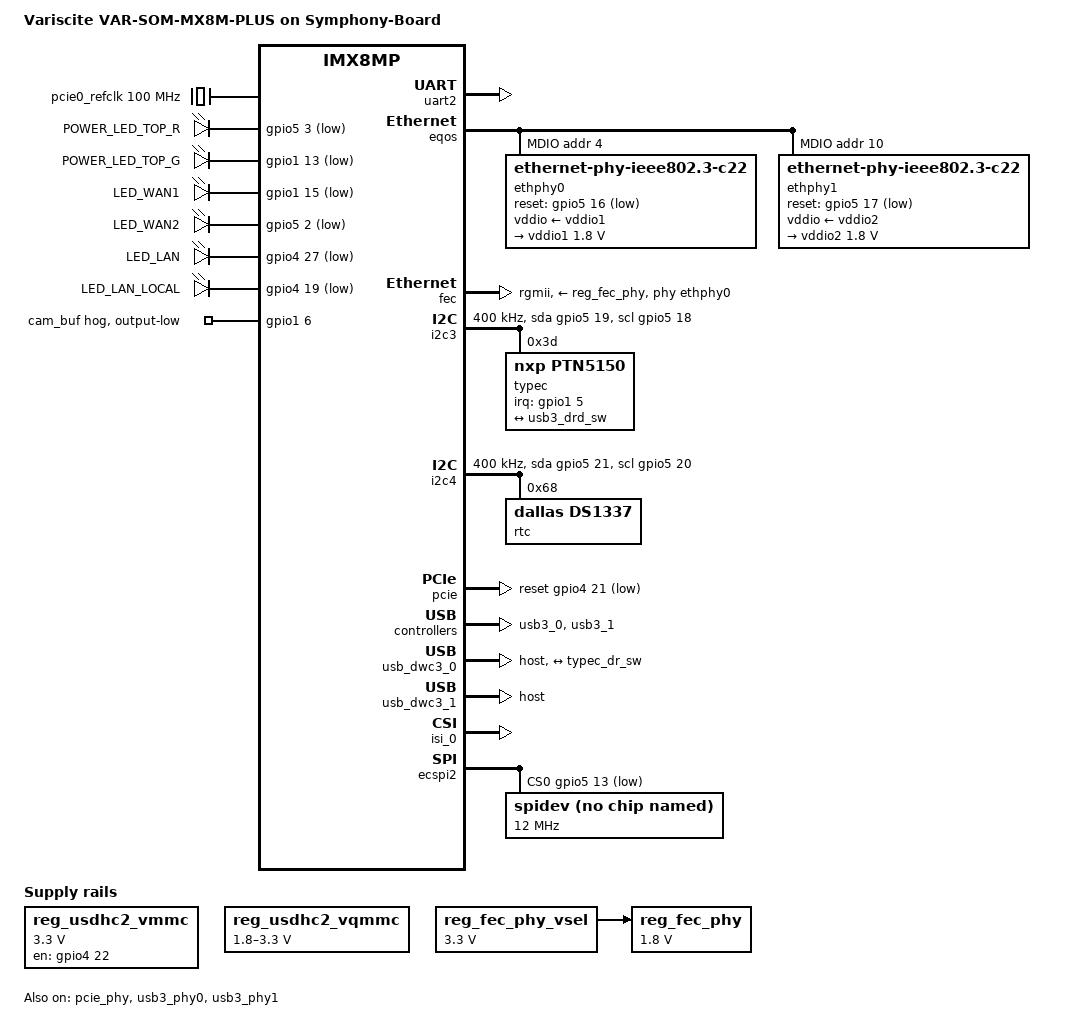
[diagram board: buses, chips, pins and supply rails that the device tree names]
// SPDX-License-Identifier: (GPL-2.0+ OR MIT)
/*
 * Copyright 2019 NXP
 * Copyright 2020-2023 Variscite Ltd.
 */

#include "imx8mp-var-som.dtsi"

/ {
	model = "Variscite VAR-SOM-MX8M-PLUS on Symphony-Board";

	// Configuración de la consola de salida (UART2)
	chosen {
		stdout-path = &uart2;
	};

	// Reloj de referencia para el PCIe 0
	pcie0_refclk: pcie0-refclk {
		compatible = "fixed-clock";					// Reloj fijo para PCIe 0
		#clock-cells = <0>;
		clock-frequency = <100000000>;				// Frecuencia del reloj a 100 MHz
	};

	// Regulador para la alimentación del controlador USDHC2 (3.3V)
	reg_usdhc2_vmmc: regulator-usdhc2-vmmc {
		compatible = "regulator-fixed";				// Regulador fijo
		regulator-name = "VSD_3V3";
		regulator-min-microvolt = <3300000>;
		regulator-max-microvolt = <3300000>;
		gpio = <&gpio4 22 GPIO_ACTIVE_HIGH>;
		enable-active-high;
		startup-delay-us = <100>;
		off-on-delay-us = <12000>;
	};

	// Regulador ajustable para VQMMC del controlador USDHC2
	reg_usdhc2_vqmmc: regulator-usdhc2-vqmmc {
		compatible = "regulator-gpio";				// Regulador controlado por GPIO
		regulator-name = "VSD_VSEL";
		regulator-min-microvolt = <1800000>;
		regulator-max-microvolt = <3300000>;
		gpio = <&gpio2 12 GPIO_ACTIVE_HIGH>;
		gpios-states = <1>;
		states = <3300000 0
			  1800000 1>;
	};

	// Regulador para la alimentación del PHY Ethernet (3.3V)
	reg_fec_phy_vsel: regulator-fec-phy-vsel {
		compatible = "regulator-fixed";				// Regulador fijo
		regulator-name = "fec-phy-vsel";
		regulator-min-microvolt = <3300000>;
		regulator-max-microvolt = <3300000>;
		regulator-always-on;
		//gpio = <&pca9534 6 GPIO_ACTIVE_HIGH>;
		enable-active-high;
	};

	// Regulador para el PHY Ethernet (1.8V)
	reg_fec_phy: regulator-fec-phy {
		compatible = "regulator-fixed";
		regulator-name = "fec-phy";
		vin-supply = <&reg_fec_phy_vsel>;
		regulator-min-microvolt = <1800000>;
		regulator-max-microvolt = <1800000>;
		regulator-enable-ramp-delay = <20000>;
		//gpio = <&pca9534 7 GPIO_ACTIVE_HIGH>;
		enable-active-high;
		regulator-always-on;
	};

	// Configuración de sonido HDMI (deshabilitada)
	sound_hdmi: sound_hdmi {
		compatible = "fsl,imx-audio-hdmi";
		model = "audio-hdmi";
		audio-cpu = <&aud2htx>;
		hdmi-out;
		constraint-rate = <44100>, // Tasa de muestreo soportada (44.1 kHz, 88.2 kHz, 176.4 kHz, 32 kHz, 48 kHz, 96 kHz, 192 kHz)
				<88200>,
				<176400>,
				<32000>,
				<48000>,
				<96000>,
				<192000>;
		status = "disabled";
	};
	
	leds {
		compatible = "gpio-leds";
		pinctrl-names = "default";
		pinctrl-0 = <&pinctrl_leds>;		// Asocia el grupo de pines "ledsgrp" al nodo de LEDs
		status = "okay";

		led1: led_1 {
			label = "POWER_LED_TOP_R";
			gpios = <&gpio5 3 GPIO_ACTIVE_LOW>;
			default-state = "off";
		};

		led2: led_2 {
			label = "POWER_LED_TOP_G";
			gpios = <&gpio1 13 GPIO_ACTIVE_LOW>;
			default-state = "off";
		};

		led3: led_3 {
			label = "LED_WAN1";
			gpios = <&gpio1 15 GPIO_ACTIVE_LOW>;
			default-state = "off";
		};

		led4: led_4 {
			label = "LED_WAN2";
			gpios = <&gpio5 2 GPIO_ACTIVE_LOW>;
			default-state = "off";
		};

		led5: led_5 {
			label = "LED_LAN";
			gpios = <&gpio4 27 GPIO_ACTIVE_LOW>;
			default-state = "off";
		};

		led6: led_6 {
			label = "LED_LAN_LOCAL";
			gpios = <&gpio4 19 GPIO_ACTIVE_LOW>;
			default-state = "off";
		};
	};
	
/*	fec-ethernet-ADIN0 {
		pinctrl-names = "default";
		pinctrl-0 = <&pinctrl_ethernet_ADIN0>;
		phy-mode = "rgmii";
		phy-handle = <&ethphy0>;
		phy-supply = <&reg_fec_phy>;
		status = "okay";
	};*/
	
	
	/*ethernet-ADIN0 {
		#address-cells = <1>;
		#size-cells = <0>;
		pinctrl-names = "default";
		pinctrl-0 = <&pinctrl_ethernet_ADIN0>;            // Llamada al pinmux
		status = "okay";

		ethernet-phy@0 {
			compatible = "ethernet-phy-ieee802.3-c22";
			reg = <0>;
			phy-mode = "rgmii-id";
			adi,rx-internal-delay-ps = <1800>;
			adi,tx-internal-delay-ps = <2200>;
			reset-gpios = <&gpio5 16 GPIO_ACTIVE_LOW>;   // Pin GPIO para resetear el PHY 0
			reset-assert-us = <10000>;
			reset-deassert-us = <20000>;
			vddio-supply = <&vddio0_phy0>;                     // Alimentación para PHY 0

			vddio0_phy0: vddio-regulator {
				regulator-min-microvolt = <1800000>;
				regulator-max-microvolt = <1800000>;
			};
		};
	};

	ethernet-ADIN1 {
		#address-cells = <1>;
		#size-cells = <0>;
		phy-mode = "rgmii-id";
		pinctrl-names = "default";
		pinctrl-0 = <&pinctrl_ethernet_ADIN1>;            // Llamada al pinmux
		status = "okay";

		ethernet-phy@1 {
			compatible = "ethernet-phy-ieee802.3-c22";
			reg = <1>;
			adi,fifo-depth-bits = <16>;
			reset-gpios = <&gpio5 17 GPIO_ACTIVE_LOW>;   // Pin GPIO para resetear el PHY 1
			reset-assert-us = <10000>;
			reset-deassert-us = <20000>;
			vddio-supply = <&vddio1_phy1>;                     // Alimentación para PHY 1

			vddio1_phy1: vddio-regulator {
				regulator-min-microvolt = <1800000>;
				regulator-max-microvolt = <1800000>;
			};
		};
	};*/
	
	
	// Controlador Ethernet ENET_QOS (Controlador de alta velocidad)
	/*enet_qos {
		// Habilitar el controlador Ethernet
		pinctrl-names = "default";
		pinctrl-0 = <&pinctrl_ethernet_ADIN0 &pinctrl_ethernet_ADIN1>;
		status = "okay";
		
		// Primer PHY en el controlador ENET_QOS
		phy0: ethernet-phy@0 {
			compatible = "ethernet-phy-ieee802.3-c22";
			reg = <0>;
			phy-mode = "rgmii-id";
			adi,rx-internal-delay-ps = <1800>;
			adi,tx-internal-delay-ps = <2200>;
			reset-gpios = <&gpio5 16 GPIO_ACTIVE_LOW>;
			reset-assert-us = <10000>;
			reset-deassert-us = <20000>;
			vddio-supply = <&vddio0_phy0>;
			vddio0_phy0: vddio-regulator {
				regulator-min-microvolt = <1800000>;
				regulator-max-microvolt = <1800000>;
			};
		};

		// Segundo PHY en el controlador ENET_QOS
		phy1: ethernet-phy@1 {
			compatible = "ethernet-phy-ieee802.3-c22";
			reg = <1>;
			phy-mode = "rgmii-id";
			adi,fifo-depth-bits = <16>;
			reset-gpios = <&gpio5 17 GPIO_ACTIVE_LOW>;
			reset-assert-us = <10000>;
			reset-deassert-us = <20000>;
			vddio-supply = <&vddio1_phy1>;
			vddio1_phy1: vddio-regulator {
				regulator-min-microvolt = <1800000>;
				regulator-max-microvolt = <1800000>;
			};
		};
	};*/
	
	
};


/*BEGIN: UART Console*/
/* Configuración de la consola UART2 */
&uart2 {
	pinctrl-names = "default";
	pinctrl-0 = <&pinctrl_uart2>;
	status = "okay";
};
/*END: UART Console*/

/*BEGIN: Ethernet PHY*/
&eqos {
	mdio {
		ethphy0: ethernet-phy@4 {
			compatible = "ethernet-phy-ieee802.3-c22";
			reg = <4>;
			phy-mode = "rgmii-id";
			adi,rx-internal-delay-ps = <1800>;
			adi,tx-internal-delay-ps = <2200>;
			reset-gpios = <&gpio5 16 GPIO_ACTIVE_LOW>;
			reset-assert-us = <10000>;
			reset-deassert-us = <20000>;
			vddio-supply = <&vddio1>;

			vddio1: vddio-regulator {
				regulator-min-microvolt = <1800000>;
				regulator-max-microvolt = <1800000>;
			};
		};

		ethphy1: ethernet-phy@10 {
			compatible = "ethernet-phy-ieee802.3-c22";
			reg = <10>;
			phy-mode = "rgmii-id";
			adi,rx-internal-delay-ps = <1800>;
			adi,tx-internal-delay-ps = <2200>;
			reset-gpios = <&gpio5 17 GPIO_ACTIVE_LOW>;
			reset-assert-us = <10000>;
			reset-deassert-us = <20000>;
			vddio-supply = <&vddio2>;

			vddio2: vddio-regulator {
				regulator-min-microvolt = <1800000>;
				regulator-max-microvolt = <1800000>;
			};
		};
	};
};

&fec {
	pinctrl-names = "default";
	pinctrl-0 = <&pinctrl_fec>;
	phy-mode = "rgmii";
	phy-handle = <&ethphy0>;
	phy-supply = <&reg_fec_phy>;
	status = "okay";
};
/*END: Ethernet PHY*/

/* BEGIN: Configuración del bus I2C3 */
&i2c3 {
	clock-frequency = <400000>;							// Velocidad del bus I2C (400 kHz)
	pinctrl-names = "default", "gpio";
	pinctrl-0 = <&pinctrl_i2c3>;
	pinctrl-1 = <&pinctrl_i2c3_gpio>;
	scl-gpios = <&gpio5 18 GPIO_ACTIVE_HIGH>;			// GPIO para la línea de reloj (SCL)
	sda-gpios = <&gpio5 19 GPIO_ACTIVE_HIGH>;			// GPIO para la línea de datos (SDA)
	status = "okay";

	/* USB Type-C Controller */ //Esto es la negociacion del modo de USB. ES un chip I2C.
	typec@3d {
		compatible = "nxp,ptn5150";
		pinctrl-names = "default";
		pinctrl-0 = <&pinctrl_extcon>;
		reg = <0x3d>;
		interrupt-parent = <&gpio1>;
		interrupts = <5 IRQ_TYPE_LEVEL_HIGH>;
		irq-is-id-quirk;
		status ="okay";
		
		/* Puertos de la interfaz Type-C */
		port {
			typec_dr_sw: endpoint {
				remote-endpoint = <&usb3_drd_sw>;		// Vincula este endpoint con el controlador DRD USB3
			};
		};
	};
	
	/* GPIO para la selección de USB3 */
	usb3_sel_hog {
		gpio-hog;									// El GPIO es "hogged", significa que lo controla el kernel directamente
		gpios = <4 0>;
		output-low;
		line-name = "usb3_sel";
	};
};


&i2c4 {
	clock-frequency = <400000>;
	pinctrl-names = "default", "gpio";
	pinctrl-0 = <&pinctrl_i2c4>;
	pinctrl-1 = <&pinctrl_i2c4_gpio>;
	scl-gpios = <&gpio5 20 GPIO_ACTIVE_HIGH>;
	sda-gpios = <&gpio5 21 GPIO_ACTIVE_HIGH>;
	status = "okay";

	/* DS1337 RTC module */
	rtc@68 {
		compatible = "dallas,ds1337";
		reg = <0x68>;
		status = "okay";
	};
};

/*&flexcan2 {
	pinctrl-names = "default";
	pinctrl-0 = <&pinctrl_flexcan2>;
	status = "okay";
};*/

/*&irqsteer_hdmi {
	status = "okay";
};*/

/*&hdmi_blk_ctrl {
	status = "okay";
};*/

/*&hdmi_pavi {
	status = "okay";
};*/

/*&hdmi {
	status = "okay";
};*/

/*&hdmiphy {
	status = "okay";
};*/

/* MIPI-DSI */
/*&lcdif1 {
	status = "disabled";
};*/

/* LVDS */
/*&lcdif2 {
	status = "okay";
};*/

/* HDMI */
//&lcdif3 {
//	status = "okay";
//	thres-low  = <1 2>;	/* (FIFO * 1 / 2) */
//	thres-high = <3 4>;	/* (FIFO * 3 / 4) */
//};

/*&ldb {
	status = "okay";

	lvds-channel@0 {
		fsl,data-mapping = "jeida";
		fsl,data-width = <24>;
		status = "okay";

		port@1 {
			reg = <1>;

			lvds_out: endpoint {
				remote-endpoint = <&panel_in>;
			};
		};
	};
};*/

/*&ldb_phy {
	status = "okay";
};*/

/*&mipi_dsi {
	status = "disabled";
};*/

&pcie {
	pinctrl-names = "default";
	pinctrl-0 = <&pinctrl_pcie>;
	reset-gpio = <&gpio4 21 GPIO_ACTIVE_LOW>;
	ext_osc = <1>;
	clocks = <&clk IMX8MP_CLK_HSIO_ROOT>,
		 <&clk IMX8MP_CLK_PCIE_AUX>,
		 <&clk IMX8MP_CLK_HSIO_AXI>,
		 <&clk IMX8MP_CLK_PCIE_ROOT>;
	clock-names = "pcie", "pcie_aux", "pcie_phy", "pcie_bus";
	assigned-clocks = <&clk IMX8MP_CLK_HSIO_AXI>,
			  <&clk IMX8MP_CLK_PCIE_AUX>;
	assigned-clock-rates = <500000000>, <10000000>;
	assigned-clock-parents = <&clk IMX8MP_SYS_PLL2_500M>,
				 <&clk IMX8MP_SYS_PLL2_50M>;
	l1ss-disabled;
	status = "okay";
};

&pcie_ep {
	pinctrl-names = "default";
	pinctrl-0 = <&pinctrl_pcie>;
	ext_osc = <1>;
	clocks = <&clk IMX8MP_CLK_HSIO_ROOT>,
		 <&clk IMX8MP_CLK_PCIE_AUX>,
		 <&clk IMX8MP_CLK_HSIO_AXI>,
		 <&clk IMX8MP_CLK_PCIE_ROOT>;
	clock-names = "pcie", "pcie_aux", "pcie_phy", "pcie_bus";
	assigned-clocks = <&clk IMX8MP_CLK_HSIO_AXI>,
			  <&clk IMX8MP_CLK_PCIE_AUX>;
	assigned-clock-rates = <500000000>, <10000000>;
	assigned-clock-parents = <&clk IMX8MP_SYS_PLL2_500M>,
				 <&clk IMX8MP_SYS_PLL2_50M>;
	status = "disabled";
};

&pcie_phy {
	fsl,refclk-pad-mode = <IMX8_PCIE_REFCLK_PAD_INPUT>;
	clocks = <&pcie0_refclk>;
	clock-names = "ref";
	status = "okay";
};

/* Header */
/*&uart1 {
	pinctrl-names = "default";
	pinctrl-0 = <&pinctrl_uart1>;
	status = "okay";
};*/


/* Header */
/*&uart4 {
	pinctrl-names = "default";
	pinctrl-0 = <&pinctrl_uart4>;
	status = "okay";
};*/

/* BEGIN: Configuración USB: Cada USB va anclado a una interfaz de red USB->ETH. */
&usb3_phy0 {
	fsl,phy-tx-vref-tune = <0xe>;
	fsl,phy-tx-preemp-amp-tune = <3>;
	fsl,phy-tx-vboost-level = <5>;
	fsl,phy-comp-dis-tune = <7>;
	fsl,pcs-tx-deemph-3p5db = <0x21>;
	fsl,phy-pcs-tx-swing-full = <0x7f>;
	status = "okay";
};

&usb3_0 {
	status = "okay";
};

&usb_dwc3_0 {
	dr_mode = "host";
	hnp-disable;
	srp-disable;
	adp-disable;
	usb-role-switch;
	role-switch-default-mode = "none";
	snps,dis-u1-entry-quirk;
	snps,dis-u2-entry-quirk;
	status = "okay";

	port {
		usb3_drd_sw: endpoint {
			remote-endpoint = <&typec_dr_sw>;
		};
	};
};

&usb3_phy1 {
	fsl,phy-tx-preemp-amp-tune = <3>;
	fsl,phy-tx-vref-tune = <0xb>;
	status = "okay";
};

&usb3_1 {
	status = "okay";
};

&usb_dwc3_1 {
	dr_mode = "host";
	status = "okay";
};
/* END: USB->ETH. */


/*&usdhc2 {
	pinctrl-names = "default", "state_100mhz", "state_200mhz";
	pinctrl-0 = <&pinctrl_usdhc2>, <&pinctrl_usdhc2_gpio>;
	pinctrl-1 = <&pinctrl_usdhc2_100mhz>, <&pinctrl_usdhc2_gpio>;
	pinctrl-2 = <&pinctrl_usdhc2_200mhz>, <&pinctrl_usdhc2_gpio>;
	cd-gpios = <&gpio1 14 GPIO_ACTIVE_LOW>;
	vmmc-supply = <&reg_usdhc2_vmmc>;
	vqmmc-supply = <&reg_usdhc2_vqmmc>;
	bus-width = <4>;
	status = "okay";
};*/

/*&mipi_csi_0 {
	#address-cells = <1>;
	#size-cells = <0>;
	status = "okay";

	port@0 {
		reg = <0>;
		mipi_csi0_ep: endpoint {
			remote-endpoint = <&ov5640_mipi_0_ep>;
			data-lanes = <2>;
			csis-hs-settle = <6>;
			csis-clk-settle = <2>;
			csis-wclk;
		};
	};
};*/

/*&mipi_csi_1 {
	status = "disabled";
};*/

/*&cameradev {
	status = "okay";
};*/

&isi_0 {
	status = "okay";

	cap_device {
		status = "disabled";
	};

	m2m_device {
		status = "okay";
	};
};

&isi_1 {
	status = "disabled";
};

&ecspi2 {
	pinctrl-names = "default";
	pinctrl-0 = <&pinctrl_ecspi2>;
	cs-gpios = <&gpio5 13 GPIO_ACTIVE_LOW>;
	status = "okay";

	spidev@0 {
		compatible = "var,spidev";
		reg = <0>;
		spi-max-frequency = <12000000>;
		status = "okay";
	};
};

&gpio1 {
	cam_buf_hog {
		gpio-hog;
		gpios = <6 0>;
		output-low;
		line-name = "cam_buf";
	};
};

&iomuxc {
	pinctrl-names = "default";
	pinctrl-0 = <&pinctrl_hog>;

	pinctrl_hog: hoggrp {
		fsl,pins = <
			MX8MP_IOMUXC_I2C1_SCL__GPIO5_IO14					0x00	//Agrego esto para los reset de Ethernet USB.
			MX8MP_IOMUXC_I2C1_SDA__GPIO5_IO15					0x00	//Agrego esto para los reset de Ethernet USB.
			MX8MP_IOMUXC_I2C2_SCL__GPIO5_IO16					0x00	//Agrego esto para los reset de Ethernet.
			MX8MP_IOMUXC_I2C2_SDA__GPIO5_IO17					0x00	//Agrego esto para los reset de Ethernet.
		>;
	};

	pinctrl_pwm1: pwm1grp {
		fsl,pins = <
			MX8MP_IOMUXC_SPDIF_EXT_CLK__PWM1_OUT				0x116
		>;
	};
	
	/*pinctrl_ethernet_ADIN0: adin0 {
		fsl,pins = <
			MX8MP_IOMUXC_ENET_MDC__ENET_QOS_MDC				0x2
			MX8MP_IOMUXC_ENET_MDIO__ENET_QOS_MDIO				0x2
			MX8MP_IOMUXC_ENET_RD0__ENET_QOS_RGMII_RD0			0x90
			MX8MP_IOMUXC_ENET_RD1__ENET_QOS_RGMII_RD1			0x90
			MX8MP_IOMUXC_ENET_RD2__ENET_QOS_RGMII_RD2			0x90
			MX8MP_IOMUXC_ENET_RD3__ENET_QOS_RGMII_RD3			0x90
			MX8MP_IOMUXC_ENET_RXC__CCM_ENET_QOS_CLOCK_GENERATE_RX_CLK	0x90
			MX8MP_IOMUXC_ENET_RX_CTL__ENET_QOS_RGMII_RX_CTL			0x90
			MX8MP_IOMUXC_ENET_TD0__ENET_QOS_RGMII_TD0			0x16
			MX8MP_IOMUXC_ENET_TD1__ENET_QOS_RGMII_TD1			0x16
			MX8MP_IOMUXC_ENET_TD2__ENET_QOS_RGMII_TD2			0x16
			MX8MP_IOMUXC_ENET_TD3__ENET_QOS_RGMII_TD3			0x16
			MX8MP_IOMUXC_ENET_TX_CTL__ENET_QOS_RGMII_TX_CTL			0x16
			MX8MP_IOMUXC_ENET_TXC__CCM_ENET_QOS_CLOCK_GENERATE_TX_CLK	0x16
			MX8MP_IOMUXC_SD2_WP__GPIO2_IO20					0x10
			MX8MP_IOMUXC_I2C2_SCL__GPIO5_IO16					0x00	//Agrego esto para los reset de Ethernet.
			//MX8MP_IOMUXC_GPIO1_IO10__GPIO1_IO10				0x150
		>;
	};*/
	
	/*pinctrl_ethernet_ADIN0: adin0 {
		fsl,pins = <
			MX8MP_IOMUXC_ENET_MDC__ENET_QOS_MDC					0x2
			MX8MP_IOMUXC_ENET_MDIO__ENET_QOS_MDIO				0x2
			MX8MP_IOMUXC_ENET_RD0__ENET_QOS_RGMII_RD0			0x90
			MX8MP_IOMUXC_ENET_RD1__ENET_QOS_RGMII_RD1			0x90
			MX8MP_IOMUXC_ENET_RD2__ENET_QOS_RGMII_RD2			0x90
			MX8MP_IOMUXC_ENET_RD3__ENET_QOS_RGMII_RD3			0x90
			MX8MP_IOMUXC_ENET_RXC__CCM_ENET_QOS_CLOCK_GENERATE_RX_CLK	0x90
			MX8MP_IOMUXC_ENET_RX_CTL__ENET_QOS_RGMII_RX_CTL		0x90
			MX8MP_IOMUXC_ENET_TD0__ENET_QOS_RGMII_TD0			0x16
			MX8MP_IOMUXC_ENET_TD1__ENET_QOS_RGMII_TD1			0x16
			MX8MP_IOMUXC_ENET_TD2__ENET_QOS_RGMII_TD2			0x16
			MX8MP_IOMUXC_ENET_TD3__ENET_QOS_RGMII_TD3			0x16
			MX8MP_IOMUXC_ENET_TX_CTL__ENET_QOS_RGMII_TX_CTL			0x16
			MX8MP_IOMUXC_ENET_TXC__CCM_ENET_QOS_CLOCK_GENERATE_TX_CLK	0x16
			MX8MP_IOMUXC_SD2_WP__GPIO2_IO20					0x10
			MX8MP_IOMUXC_I2C2_SCL__GPIO5_IO16					0x00	//Agrego esto para los reset de Ethernet.
			//MX8MP_IOMUXC_GPIO1_IO10__GPIO1_IO10				0x150
		>;
	};*/
	
	/*pinctrl_ethernet_ADIN1: adin1 {
		fsl,pins = <
			MX8MP_IOMUXC_SAI1_RXD4__ENET1_RGMII_RD0				0x90
			MX8MP_IOMUXC_SAI1_RXD5__ENET1_RGMII_RD1				0x90
			MX8MP_IOMUXC_SAI1_RXD6__ENET1_RGMII_RD2				0x90
			MX8MP_IOMUXC_SAI1_RXD7__ENET1_RGMII_RD3				0x90
			MX8MP_IOMUXC_SAI1_TXC__ENET1_RGMII_RXC				0x90
			MX8MP_IOMUXC_SAI1_TXFS__ENET1_RGMII_RX_CTL			0x90
			MX8MP_IOMUXC_SAI1_TXD0__ENET1_RGMII_TD0				0x00
			MX8MP_IOMUXC_SAI1_TXD1__ENET1_RGMII_TD1				0x00
			MX8MP_IOMUXC_SAI1_TXD2__ENET1_RGMII_TD2				0x00
			MX8MP_IOMUXC_SAI1_TXD3__ENET1_RGMII_TD3				0x00
			MX8MP_IOMUXC_SAI1_TXD4__ENET1_RGMII_TX_CTL			0x00
			MX8MP_IOMUXC_SAI1_TXD5__ENET1_RGMII_TXC				0x00
			MX8MP_IOMUXC_I2C2_SDA__GPIO5_IO17					0x00	//Agrego esto para los reset de Ethernet.
		>;
	};*/
			
	
	pinctrl_fec: fecgrp {
		// Configuración de los pines del controlador Ethernet FEC en modo RGMII
		fsl,pins = <
			/*MX8MP_IOMUXC_ENET_MDC__ENET_QOS_MDC					0x2
			MX8MP_IOMUXC_ENET_MDIO__ENET_QOS_MDIO				0x2
			MX8MP_IOMUXC_ENET_RD0__ENET_QOS_RGMII_RD0			0x90
			MX8MP_IOMUXC_ENET_RD1__ENET_QOS_RGMII_RD1			0x90
			MX8MP_IOMUXC_ENET_RD2__ENET_QOS_RGMII_RD2			0x90
			MX8MP_IOMUXC_ENET_RD3__ENET_QOS_RGMII_RD3			0x90
			MX8MP_IOMUXC_ENET_RXC__CCM_ENET_QOS_CLOCK_GENERATE_RX_CLK	0x90
			MX8MP_IOMUXC_ENET_RX_CTL__ENET_QOS_RGMII_RX_CTL		0x90
			MX8MP_IOMUXC_ENET_TD0__ENET_QOS_RGMII_TD0			0x16
			MX8MP_IOMUXC_ENET_TD1__ENET_QOS_RGMII_TD1			0x16
			MX8MP_IOMUXC_ENET_TD2__ENET_QOS_RGMII_TD2			0x16
			MX8MP_IOMUXC_ENET_TD3__ENET_QOS_RGMII_TD3			0x16
			MX8MP_IOMUXC_ENET_TX_CTL__ENET_QOS_RGMII_TX_CTL			0x16
			MX8MP_IOMUXC_ENET_TXC__CCM_ENET_QOS_CLOCK_GENERATE_TX_CLK	0x16*/
			//MX8MP_IOMUXC_SD2_WP__GPIO2_IO20					0x10
			//MX8MP_IOMUXC_I2C2_SCL__GPIO5_IO16					0x00	//Agrego esto para los reset de Ethernet.
			//Otra interfaz
			MX8MP_IOMUXC_SAI1_RXD4__ENET1_RGMII_RD0				0x90
			MX8MP_IOMUXC_SAI1_RXD5__ENET1_RGMII_RD1				0x90
			MX8MP_IOMUXC_SAI1_RXD6__ENET1_RGMII_RD2				0x90
			MX8MP_IOMUXC_SAI1_RXD7__ENET1_RGMII_RD3				0x90
			MX8MP_IOMUXC_SAI1_TXC__ENET1_RGMII_RXC				0x90
			MX8MP_IOMUXC_SAI1_TXFS__ENET1_RGMII_RX_CTL			0x90
			MX8MP_IOMUXC_SAI1_TXD0__ENET1_RGMII_TD0				0x00
			MX8MP_IOMUXC_SAI1_TXD1__ENET1_RGMII_TD1				0x00
			MX8MP_IOMUXC_SAI1_TXD2__ENET1_RGMII_TD2				0x00
			MX8MP_IOMUXC_SAI1_TXD3__ENET1_RGMII_TD3				0x00
			MX8MP_IOMUXC_SAI1_TXD4__ENET1_RGMII_TX_CTL			0x00
			MX8MP_IOMUXC_SAI1_TXD5__ENET1_RGMII_TXC				0x00
			MX8MP_IOMUXC_SAI1_RXD3__ENET1_MDIO					0x90
			//MX8MP_IOMUXC_I2C2_SDA__GPIO5_IO17					0x00	//Agrego esto para los reset de Ethernet.
		>;
	};

	pinctrl_flexspi0: flexspi0grp {
		fsl,pins = <
			MX8MP_IOMUXC_NAND_ALE__FLEXSPI_A_SCLK				0x1c2
			MX8MP_IOMUXC_NAND_CE0_B__FLEXSPI_A_SS0_B			0x82
			MX8MP_IOMUXC_NAND_DATA00__FLEXSPI_A_DATA00			0x82
			MX8MP_IOMUXC_NAND_DATA01__FLEXSPI_A_DATA01			0x82
			MX8MP_IOMUXC_NAND_DATA02__FLEXSPI_A_DATA02			0x82
			MX8MP_IOMUXC_NAND_DATA03__FLEXSPI_A_DATA03			0x82
		>;
	};

	pinctrl_i2c3: i2c3grp {
		fsl,pins = <
			MX8MP_IOMUXC_I2C3_SCL__I2C3_SCL					0x400001c2
			MX8MP_IOMUXC_I2C3_SDA__I2C3_SDA					0x400001c2
		>;
	};
	
	pinctrl_leds: ledsgrp {					// Define un grupo de pines llamado ledsgrp
		fsl,pins = <
			MX8MP_IOMUXC_SPDIF_TX__GPIO5_IO03		0x1c3 /* Configura como GPIO5_IO03 */
			MX8MP_IOMUXC_GPIO1_IO13__GPIO1_IO13		0x1c3 /* Configura como GPIO1_IO13 */
			MX8MP_IOMUXC_GPIO1_IO15__GPIO1_IO15		0x1c3 /* Configura como GPIO1_IO15 */
			MX8MP_IOMUXC_SAI3_MCLK__GPIO5_IO02		0x1c3 /* Configura como GPIO5_IO02 */
			MX8MP_IOMUXC_SAI2_MCLK__GPIO4_IO27		0x1c3 /* Configura como GPIO4_IO27 */
			MX8MP_IOMUXC_SAI1_TXD7__GPIO4_IO19		0x1c3 /* Configura como GPIO4_IO19 */
		>;
	};

	pinctrl_i2c4: i2c4grp {
		fsl,pins = <
			MX8MP_IOMUXC_I2C4_SCL__I2C4_SCL					0x400001c2
			MX8MP_IOMUXC_I2C4_SDA__I2C4_SDA					0x400001c2
		>;
	};

	pinctrl_i2c3_gpio: i2c3gpiogrp {
		fsl,pins = <
			/*Esto está duplicado en pinctrl_i2c3. Tiene que ser i2c, no gpio
			MX8MP_IOMUXC_I2C3_SCL__GPIO5_IO18				0x1c2
			MX8MP_IOMUXC_I2C3_SDA__GPIO5_IO19				0x1c2
			*/
			//MX8MP_IOMUXC_I2C2_SDA__GPIO5_IO17					0x00	//Agrego esto para los reset de Ethernet.
			//MX8MP_IOMUXC_I2C2_SCL__GPIO5_IO16					0x00	//Agrego esto para los reset de Ethernet.
		>;
	};

	pinctrl_i2c4_gpio: i2c4gpiogrp {
		fsl,pins = <
			MX8MP_IOMUXC_I2C4_SCL__GPIO5_IO20				0x1c2
			MX8MP_IOMUXC_I2C4_SDA__GPIO5_IO21				0x1c2
		>;
	};

	pinctrl_uart1: uart1grp {
		fsl,pins = <
			MX8MP_IOMUXC_UART1_RXD__UART1_DCE_RX				0x40
			MX8MP_IOMUXC_UART1_TXD__UART1_DCE_TX				0x40
		>;
	};

	pinctrl_uart2: uart2grp {
		fsl,pins = <
			MX8MP_IOMUXC_UART2_RXD__UART2_DCE_RX				0x40
			MX8MP_IOMUXC_UART2_TXD__UART2_DCE_TX				0x40
		>;
	};

	pinctrl_uart4: uart4grp {
		fsl,pins = <
			MX8MP_IOMUXC_UART4_RXD__UART4_DCE_RX				0x40
			MX8MP_IOMUXC_UART4_TXD__UART4_DCE_TX				0x40
		>;
	};

	pinctrl_usdhc2_gpio: usdhc2grp-gpio {
		fsl,pins = <
			MX8MP_IOMUXC_GPIO1_IO14__GPIO1_IO14				0x1c4
			MX8MP_IOMUXC_SAI2_RXC__GPIO4_IO22				0x10
			MX8MP_IOMUXC_SD2_CD_B__GPIO2_IO12				0xc0
		>;
	};

	pinctrl_usdhc2: usdhc2grp {
		fsl,pins = <
			MX8MP_IOMUXC_SD2_CLK__USDHC2_CLK				0x190
			MX8MP_IOMUXC_SD2_CMD__USDHC2_CMD				0x1d0
			MX8MP_IOMUXC_SD2_DATA0__USDHC2_DATA0				0x1d0
			MX8MP_IOMUXC_SD2_DATA1__USDHC2_DATA1				0x1d0
			MX8MP_IOMUXC_SD2_DATA2__USDHC2_DATA2				0x1d0
			MX8MP_IOMUXC_SD2_DATA3__USDHC2_DATA3				0x1d0
		>;
	};

	pinctrl_usdhc2_100mhz: usdhc2grp-100mhz {
		fsl,pins = <
			MX8MP_IOMUXC_SD2_CLK__USDHC2_CLK				0x194
			MX8MP_IOMUXC_SD2_CMD__USDHC2_CMD				0x1d4
			MX8MP_IOMUXC_SD2_DATA0__USDHC2_DATA0				0x1d4
			MX8MP_IOMUXC_SD2_DATA1__USDHC2_DATA1				0x1d4
			MX8MP_IOMUXC_SD2_DATA2__USDHC2_DATA2				0x1d4
			MX8MP_IOMUXC_SD2_DATA3__USDHC2_DATA3				0x1d4
		>;
	};

	pinctrl_usdhc2_200mhz: usdhc2grp-200mhz {
		fsl,pins = <
			MX8MP_IOMUXC_SD2_CLK__USDHC2_CLK				0x196
			MX8MP_IOMUXC_SD2_CMD__USDHC2_CMD				0x1d6
			MX8MP_IOMUXC_SD2_DATA0__USDHC2_DATA0				0x1d6
			MX8MP_IOMUXC_SD2_DATA1__USDHC2_DATA1				0x1d6
			MX8MP_IOMUXC_SD2_DATA2__USDHC2_DATA2				0x1d6
			MX8MP_IOMUXC_SD2_DATA3__USDHC2_DATA3				0x1d6
		>;
	};

	pinctrl_ecspi2: ecspi12grp {
		fsl,pins = <
			MX8MP_IOMUXC_ECSPI2_SCLK__ECSPI2_SCLK				0x12
			MX8MP_IOMUXC_ECSPI2_MOSI__ECSPI2_MOSI				0x12
			MX8MP_IOMUXC_ECSPI2_MISO__ECSPI2_MISO				0x12
			MX8MP_IOMUXC_ECSPI2_SS0__GPIO5_IO13				0x12
		>;
	};

	/*pinctrl_captouch: captouchgrp {
		fsl,pins = <
			MX8MP_IOMUXC_SPDIF_TX__GPIO5_IO03				0x16
		>;
	};*/

	pinctrl_extcon: extcongrp {
		fsl,pins = <
			MX8MP_IOMUXC_GPIO1_IO05__GPIO1_IO05				0x10
		>;
	};

	pinctrl_flexcan2: flexcan2grp {
		fsl,pins = <
			MX8MP_IOMUXC_UART3_RXD__CAN2_TX					0x154
			MX8MP_IOMUXC_UART3_TXD__CAN2_RX					0x154
		>;
	};

	pinctrl_pcie: pciegrp {
		fsl,pins = <
			MX8MP_IOMUXC_SAI2_RXFS__GPIO4_IO21				0x40
		>;
	};

	pinctrl_csi0: csi0grp {
		fsl,pins = <
			MX8MP_IOMUXC_GPIO1_IO00__GPIO1_IO00				0x10
			MX8MP_IOMUXC_GPIO1_IO08__GPIO1_IO08				0x10
			>;
	};

	pinctrl_csi1: csi1grp {
		fsl,pins = <
			MX8MP_IOMUXC_SAI1_RXD7__GPIO4_IO09				0x10
			MX8MP_IOMUXC_SAI1_TXD0__GPIO4_IO12				0x10
			>;
	};

	/*pinctrl_pca9534: pca9534grp {
		fsl,pins = <
			MX8MP_IOMUXC_GPIO1_IO15__GPIO1_IO15				0xc0
		>;
	};*/
};
